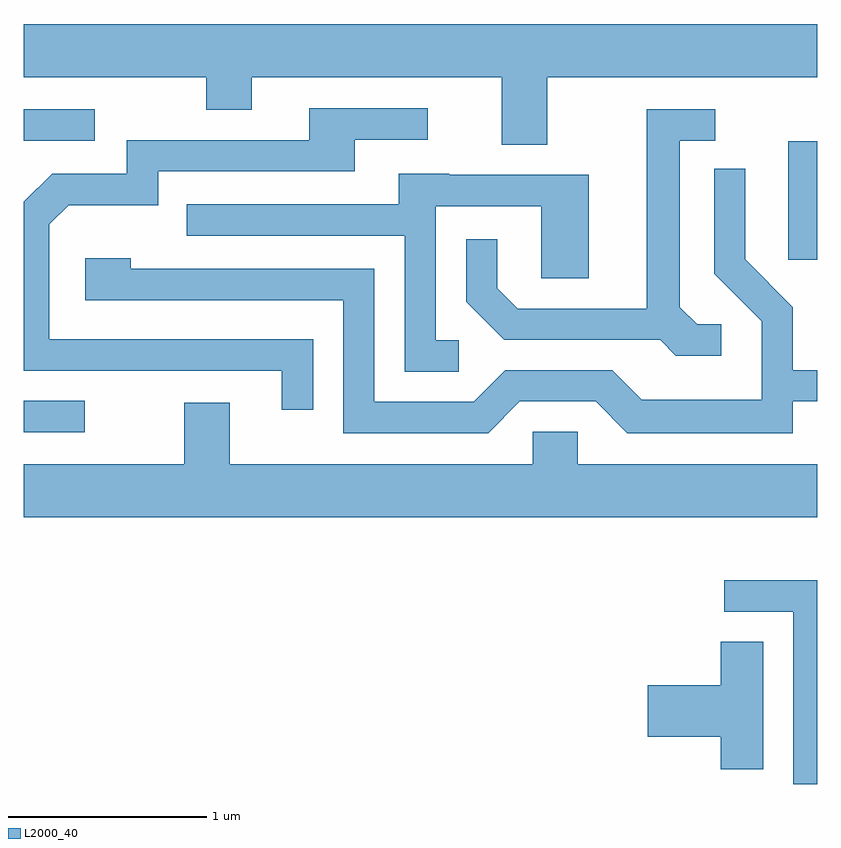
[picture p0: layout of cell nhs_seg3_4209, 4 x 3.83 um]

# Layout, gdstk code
import gdstk
lib = gdstk.Library(unit=1e-6, precision=1e-09)
def R(c, l, rs):  # rectangles x0, y0, x1, y1
    for r in rs: c.add(gdstk.rectangle(r[:2], r[2:], *l))
def P(c, l, *ps):  # polygons
    for p in ps: c.add(gdstk.Polygon(p, *l))
L2000_40 = (2000, 40)

nhs_seg3_4209 = lib.new_cell('nhs_seg3_4209')
R(nhs_seg3_4209, L2000_40, [(307.611,1239.666,307.918,1239.824), (311.466,1240.536,311.611,1241.134), (307.611,1241.136,307.968,1241.294)])
P(nhs_seg3_4209, L2000_40, [(310.249,1241.456),(311.611,1241.456),(311.611,1241.724),(307.611,1241.724),(307.611,1241.456),(308.531,1241.456),(308.531,1241.291),(308.759,1241.291),(308.759,1241.456),(310.021,1241.456),(310.021,1241.116),(310.249,1241.116)],
  [(309.069,1240.134),(307.739,1240.134),(307.739,1240.714),(307.837,1240.811),(308.289,1240.811),(308.289,1240.981),(309.279,1240.981),(309.279,1241.141),(309.648,1241.141),(309.648,1241.299),(309.051,1241.299),(309.051,1241.139),(308.131,1241.139),(308.131,1240.969),(307.754,1240.969),(307.611,1240.827),(307.611,1239.976),(308.911,1239.976),(308.911,1239.778),(309.069,1239.778)],
  [(311.128,1240.209),(311.007,1240.209),(310.919,1240.297),(310.919,1241.136),(311.098,1241.136),(311.098,1241.294),(310.751,1241.294),(310.751,1240.289),(310.102,1240.289),(309.999,1240.392),(309.999,1240.638),(309.841,1240.638),(309.841,1240.324),(310.034,1240.131),(310.819,1240.131),(310.899,1240.051),(311.128,1240.051)],
  [(310.112,1239.821),(310.494,1239.821),(310.654,1239.661),(311.489,1239.661),(311.489,1239.821),(311.611,1239.821),(311.611,1239.979),(311.489,1239.979),(311.489,1240.297),(311.249,1240.537),(311.249,1240.993),(311.091,1240.993),(311.091,1240.464),(311.331,1240.224),(311.331,1239.829),(310.727,1239.829),(310.577,1239.979),(310.039,1239.979),(309.879,1239.819),(309.379,1239.819),(309.379,1240.489),(308.149,1240.489),(308.149,1240.544),(307.921,1240.544),(307.921,1240.331),(309.221,1240.331),(309.221,1239.661),(309.952,1239.661)],
  [(309.803,1240.129),(309.689,1240.129),(309.689,1240.806),(310.221,1240.806),(310.221,1240.441),(310.459,1240.441),(310.459,1240.964),(309.755,1240.964),(309.755,1240.969),(309.501,1240.969),(309.501,1240.814),(308.433,1240.814),(308.433,1240.656),(309.531,1240.656),(309.531,1239.971),(309.803,1239.971)],
  [(311.611,1239.504),(310.404,1239.504),(310.404,1239.669),(310.176,1239.669),(310.176,1239.504),(308.649,1239.504),(308.649,1239.814),(308.421,1239.814),(308.421,1239.504),(307.611,1239.504),(307.611,1239.236),(311.611,1239.236)],
  [(311.611,1238.919),(311.143,1238.919),(311.143,1238.761),(311.491,1238.761),(311.491,1237.892),(311.611,1237.892)],
  [(311.339,1238.609),(311.126,1238.609),(311.126,1238.389),(310.756,1238.389),(310.756,1238.131),(311.126,1238.131),(311.126,1237.966),(311.339,1237.966)])

lib.write_gds('nhs_seg3_4209.gds')
